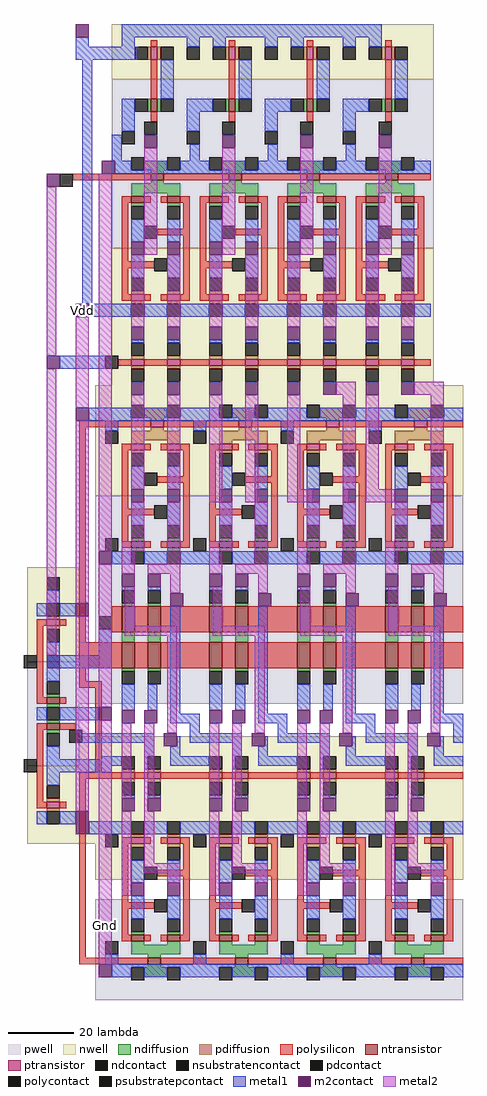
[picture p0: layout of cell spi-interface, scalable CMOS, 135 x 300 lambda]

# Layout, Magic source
magic
tech scmos
<< nwell >>
rect 0 262 99 279
rect 0 168 99 210
rect -5 134 108 168
rect -26 83 -10 112
rect -10 51 108 60
rect -26 27 108 51
rect -5 16 108 27
<< pwell >>
rect 0 210 99 262
rect -5 89 108 134
rect -10 83 108 89
rect -26 70 108 83
rect -26 51 -10 70
rect -5 -21 108 10
<< psubstratepcontact >>
rect 3 242 7 246
rect 23 242 27 246
rect 47 242 51 246
rect 71 242 75 246
rect -2 117 2 121
rect 25 117 29 121
rect 52 117 56 121
rect 79 117 83 121
rect -2 -7 2 -3
rect 25 -7 29 -3
rect 52 -7 56 -3
rect 79 -7 83 -3
<< nsubstratencontact >>
rect 23 268 27 272
rect 47 268 51 272
rect 71 268 75 272
rect -20 105 -16 109
rect -2 150 2 154
rect 25 150 29 154
rect 52 150 56 154
rect 79 150 83 154
rect -2 26 2 30
rect 25 26 29 30
rect 52 26 56 30
rect 79 26 83 30
<< polysilicon >>
rect -12 231 2 233
rect -10 155 0 157
rect -10 89 -8 155
rect -10 81 0 89
rect -10 77 -8 81
rect -10 75 -3 77
rect -14 62 -11 64
rect -5 49 -3 75
rect -10 47 0 49
rect -10 -8 -8 47
rect -10 -10 0 -8
<< polycontact >>
rect -16 229 -12 233
rect -2 173 2 177
rect -4 93 0 97
rect -27 81 -23 85
rect -13 58 -9 62
rect -27 49 -23 53
<< metal1 >>
rect -11 272 -7 275
rect 3 275 83 279
rect 3 272 7 275
rect 23 272 27 275
rect 31 272 35 275
rect 47 272 51 275
rect 55 272 59 275
rect 71 272 75 275
rect 79 272 83 275
rect -11 268 8 272
rect -9 193 -6 268
rect 3 246 7 256
rect 0 237 3 245
rect 23 252 31 256
rect 47 252 55 256
rect 71 252 79 256
rect 23 246 27 252
rect 47 246 51 252
rect 71 246 75 252
rect 24 237 27 242
rect 48 237 51 242
rect 72 237 75 242
rect 1 233 2 237
rect -7 189 2 193
rect -16 173 -2 177
rect -7 158 1 161
rect -7 157 2 158
rect -2 154 2 157
rect 25 154 29 157
rect 52 154 56 159
rect 79 154 83 160
rect -20 101 -16 105
rect -14 97 -11 101
rect -4 85 0 93
rect -14 81 0 85
rect -14 65 -4 69
rect -9 58 0 61
rect -3 53 3 54
rect -14 51 3 53
rect -14 49 0 51
rect -14 33 -11 37
rect -7 30 3 34
rect -2 -10 2 -7
rect 25 -10 29 -7
rect 52 -10 56 -7
rect 79 -10 83 -7
<< m2contact >>
rect -11 275 -7 279
rect -20 229 -16 233
rect -3 233 1 237
rect -11 189 -7 193
rect -20 173 -16 177
rect 6 165 10 169
rect 17 165 21 169
rect 30 165 34 169
rect 41 165 45 169
rect 54 165 58 169
rect 65 165 69 169
rect 78 165 82 169
rect 89 165 93 169
rect -11 157 -7 161
rect -4 113 0 117
rect -11 97 -7 101
rect -20 81 -16 85
rect -4 65 0 69
rect -11 30 -7 37
rect -4 -14 0 -10
<< metal2 >>
rect -20 177 -17 229
rect -20 85 -17 173
rect -11 161 -7 189
rect -11 101 -7 157
rect -11 37 -7 97
rect -4 117 0 233
rect 6 136 10 165
rect 17 136 21 165
rect 30 132 34 165
rect 41 132 45 165
rect 69 165 75 169
rect 54 136 58 165
rect 71 136 75 165
rect 93 165 102 169
rect 78 136 82 165
rect 98 136 102 165
rect 54 132 62 136
rect 71 132 73 136
rect 78 132 87 136
rect -4 69 0 113
rect -4 -10 0 65
use dflipflopsimple  dflipflopsimple_0
array 0 3 24 0 0 76
transform -1 0 88 0 -1 88
box -10 -186 14 -81
use inverter  inverter_1
transform 1 0 -20 0 1 70
box -3 -5 6 31
use invinverter  invinverter_0
transform 1 0 -19 0 1 38
box -4 -5 5 31
use dflipflop  dflipflop_0
array 0 3 27 0 0 161
transform 1 0 11 0 1 135
box -11 -150 16 27
<< labels >>
rlabel metal2 -4 0 0 4 1 Gnd
rlabel m2contact -11 189 -7 193 1 Vdd
<< end >>

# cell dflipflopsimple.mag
magic
tech scmos
<< ntransistor >>
rect -5 -138 -1 -136
rect 6 -138 10 -136
rect 0 -145 4 -143
rect 2 -168 4 -164
<< ptransistor >>
rect -5 -88 -1 -86
rect 6 -88 10 -86
rect -5 -108 -1 -106
rect 6 -108 10 -106
rect 2 -184 4 -180
<< ndiffusion >>
rect -5 -136 -1 -135
rect 6 -136 10 -135
rect -5 -139 -1 -138
rect 6 -139 10 -138
rect -5 -142 10 -139
rect 0 -143 4 -142
rect 0 -146 4 -145
rect -1 -149 6 -146
rect 1 -168 2 -164
rect 4 -168 5 -164
<< pdiffusion >>
rect -5 -86 -1 -85
rect 6 -86 10 -85
rect -5 -89 -1 -88
rect 6 -89 10 -88
rect -5 -106 -1 -105
rect 6 -106 10 -105
rect -5 -109 -1 -108
rect 6 -109 10 -108
rect 1 -184 2 -180
rect 4 -184 5 -180
<< ndcontact >>
rect -5 -135 -1 -131
rect 6 -135 10 -131
rect -5 -150 -1 -146
rect 6 -150 10 -146
rect -3 -168 1 -164
rect 5 -168 9 -164
<< pdcontact >>
rect -5 -85 -1 -81
rect 6 -85 10 -81
rect -5 -93 -1 -89
rect 6 -93 10 -89
rect -5 -105 -1 -101
rect 6 -105 10 -101
rect -5 -113 -1 -109
rect 6 -113 10 -109
rect -3 -184 1 -180
rect 5 -184 9 -180
<< polysilicon >>
rect -10 -88 -5 -86
rect -1 -88 6 -86
rect 10 -88 14 -86
rect -8 -108 -5 -106
rect -1 -108 1 -106
rect 4 -108 6 -106
rect 10 -108 13 -106
rect -8 -126 -6 -108
rect 11 -116 13 -108
rect 3 -118 13 -116
rect -8 -128 2 -126
rect -8 -136 -6 -128
rect 11 -136 13 -118
rect -8 -138 -5 -136
rect -1 -138 1 -136
rect 4 -138 6 -136
rect 10 -138 13 -136
rect -10 -145 0 -143
rect 4 -145 14 -143
rect 2 -164 4 -161
rect 2 -180 4 -168
rect 2 -186 4 -184
<< polycontact >>
rect -1 -119 3 -115
rect 2 -129 6 -125
rect 2 -161 6 -157
<< metal1 >>
rect -5 -94 -1 -93
rect 6 -94 10 -93
rect -10 -105 -5 -101
rect -1 -105 6 -101
rect 10 -105 14 -101
rect -5 -120 -1 -113
rect -5 -131 -1 -124
rect 6 -120 10 -113
rect 6 -131 10 -124
rect -10 -146 14 -145
rect -10 -149 -5 -146
rect -1 -149 6 -146
rect 10 -149 14 -146
rect -3 -180 1 -168
<< m2contact >>
rect -5 -98 -1 -94
rect 6 -98 10 -94
rect -5 -124 -1 -120
rect 6 -124 10 -120
rect 2 -157 6 -153
<< metal2 >>
rect -5 -120 -1 -98
rect 6 -120 10 -98
rect 2 -153 6 -120
<< labels >>
rlabel metal1 13 -149 14 -145 8 Gnd
rlabel metal1 -10 -105 -9 -101 3 Vdd
rlabel m2contact 6 -98 10 -94 1 Qbar
rlabel pdcontact 6 -85 10 -81 1 Dbar
rlabel m2contact -5 -98 -1 -94 3 Q
rlabel pdcontact -5 -85 -1 -81 3 D
rlabel polysilicon -10 -88 -9 -86 3 En
rlabel polysilicon -10 -145 -9 -143 3 En
rlabel metal1 -3 -176 1 -172 1 Qout
rlabel pdcontact 5 -184 9 -180 1 Vdd
rlabel ndcontact 5 -168 9 -164 5 Gnd
<< end >>

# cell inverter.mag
magic
tech scmos
<< ntransistor >>
rect 0 0 4 2
<< ptransistor >>
rect 0 24 4 26
<< ndiffusion >>
rect 0 2 4 3
rect 0 -1 4 0
<< pdiffusion >>
rect 0 26 4 27
rect 0 23 4 24
<< ndcontact >>
rect 0 3 4 7
rect 0 -5 4 -1
<< pdcontact >>
rect 0 27 4 31
rect 0 19 4 23
<< polysilicon >>
rect -3 24 0 26
rect 4 24 6 26
rect -3 2 -1 24
rect -3 0 0 2
rect 4 0 6 2
<< metal1 >>
rect -3 27 0 31
rect 4 27 6 31
rect 0 15 4 19
rect 0 11 6 15
rect 0 7 4 11
rect -3 -5 0 -1
rect 4 -5 6 -1
<< labels >>
rlabel polysilicon -3 12 -2 14 3 A
rlabel metal1 5 11 6 15 7 Z
rlabel metal1 -3 -5 -2 -1 2 Gnd
rlabel metal1 -3 27 -2 31 4 Vdd
<< end >>

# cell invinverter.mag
magic
tech scmos
<< ntransistor >>
rect -1 24 3 26
<< ptransistor >>
rect -1 0 3 2
<< ndiffusion >>
rect -1 26 3 27
rect -1 23 3 24
<< pdiffusion >>
rect -1 2 3 3
rect -1 -1 3 0
<< ndcontact >>
rect -1 27 3 31
rect -1 19 3 23
<< pdcontact >>
rect -1 3 3 7
rect -1 -5 3 -1
<< polysilicon >>
rect -4 24 -1 26
rect 3 24 5 26
rect -4 2 -2 24
rect -4 0 -1 2
rect 3 0 5 2
<< metal1 >>
rect -4 27 -1 31
rect 3 27 5 31
rect -1 15 3 19
rect -1 11 5 15
rect -1 7 3 11
rect -4 -5 -1 -1
rect 3 -5 5 -1
<< labels >>
rlabel metal1 4 27 5 31 6 Gnd
rlabel metal1 4 -5 5 -1 8 Vdd
rlabel polysilicon -4 12 -3 14 3 A
rlabel metal1 4 11 5 15 7 Z
<< end >>

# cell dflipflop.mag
magic
tech scmos
<< ntransistor >>
rect -5 -17 -1 -15
rect 6 -17 10 -15
rect -8 -43 -4 -35
rect 0 -43 4 -35
rect -8 -54 -4 -46
rect 0 -54 4 -46
rect -5 -138 -1 -136
rect 6 -138 10 -136
rect 0 -145 4 -143
<< ptransistor >>
rect 1 20 5 22
rect -5 13 -1 15
rect 6 13 10 15
rect -8 -88 -4 -86
rect 0 -88 4 -86
rect -5 -108 -1 -106
rect 6 -108 10 -106
<< ndiffusion >>
rect -5 -15 -1 -14
rect 6 -15 10 -14
rect -5 -18 -1 -17
rect 6 -18 10 -17
rect -8 -35 -4 -34
rect 0 -35 4 -34
rect -8 -46 -4 -43
rect 0 -46 4 -43
rect -8 -55 -4 -54
rect 0 -55 4 -54
rect -5 -136 -1 -135
rect 6 -136 10 -135
rect -5 -139 -1 -138
rect 6 -139 10 -138
rect -5 -142 10 -139
rect 0 -143 4 -142
rect 0 -146 4 -145
rect -1 -149 6 -146
<< pdiffusion >>
rect -1 23 6 26
rect 1 22 5 23
rect 1 19 5 20
rect -5 16 10 19
rect -5 15 -1 16
rect 6 15 10 16
rect -5 12 -1 13
rect 6 12 10 13
rect -8 -86 -4 -85
rect 0 -86 4 -85
rect -8 -89 -4 -88
rect 0 -89 4 -88
rect -5 -106 -1 -105
rect 6 -106 10 -105
rect -5 -109 -1 -108
rect 6 -109 10 -108
<< ndcontact >>
rect -5 -14 -1 -10
rect 6 -14 10 -10
rect -5 -22 -1 -18
rect 6 -22 10 -18
rect -8 -34 -4 -30
rect 0 -34 4 -30
rect -8 -59 -4 -55
rect 0 -59 4 -55
rect -5 -135 -1 -131
rect 6 -135 10 -131
rect -5 -150 -1 -146
rect 6 -150 10 -146
<< pdcontact >>
rect -5 23 -1 27
rect 6 23 10 27
rect -5 8 -1 12
rect 6 8 10 12
rect -8 -85 -4 -81
rect 0 -85 4 -81
rect -8 -93 -4 -89
rect 0 -93 4 -89
rect -5 -105 -1 -101
rect 6 -105 10 -101
rect -5 -113 -1 -109
rect 6 -113 10 -109
<< polysilicon >>
rect -11 20 1 22
rect 5 20 16 22
rect -8 13 -5 15
rect -1 13 1 15
rect 4 13 6 15
rect 10 13 13 15
rect -8 -5 -6 13
rect 11 5 13 13
rect 3 3 13 5
rect -8 -7 2 -5
rect -8 -15 -6 -7
rect 11 -15 13 3
rect -8 -17 -5 -15
rect -1 -17 1 -15
rect 4 -17 6 -15
rect 10 -17 13 -15
rect -11 -43 -8 -35
rect -4 -43 0 -35
rect 4 -43 16 -35
rect -11 -54 -8 -46
rect -4 -54 0 -46
rect 4 -54 16 -46
rect -11 -88 -8 -86
rect -4 -88 0 -86
rect 4 -88 16 -86
rect -8 -108 -5 -106
rect -1 -108 1 -106
rect 4 -108 6 -106
rect 10 -108 13 -106
rect -8 -126 -6 -108
rect 11 -116 13 -108
rect 3 -118 13 -116
rect -8 -128 2 -126
rect -8 -136 -6 -128
rect 11 -136 13 -118
rect -8 -138 -5 -136
rect -1 -138 1 -136
rect 4 -138 6 -136
rect 10 -138 13 -136
rect -11 -145 0 -143
rect 4 -145 16 -143
<< polycontact >>
rect -1 2 3 6
rect 2 -8 6 -4
rect -1 -119 3 -115
rect 2 -129 6 -125
<< metal1 >>
rect -11 23 -5 26
rect -1 23 6 26
rect 10 23 16 26
rect -11 22 16 23
rect -5 1 -1 8
rect -5 -10 -1 -3
rect 6 1 10 8
rect 6 -10 10 -3
rect -11 -22 -5 -18
rect -1 -22 6 -18
rect 10 -22 16 -18
rect -8 -30 -4 -29
rect 0 -30 4 -29
rect -8 -67 -4 -59
rect 0 -67 3 -59
rect 7 -68 10 -35
rect 7 -71 16 -68
rect -11 -77 2 -74
rect -1 -81 2 -77
rect 9 -78 10 -75
rect 13 -77 16 -71
rect 7 -81 10 -78
rect -11 -84 -8 -81
rect -1 -85 0 -81
rect 7 -84 16 -81
rect -8 -94 -4 -93
rect 0 -94 4 -93
rect -11 -105 -5 -101
rect -1 -105 6 -101
rect 10 -105 16 -101
rect -5 -120 -1 -113
rect -5 -131 -1 -124
rect 6 -120 10 -113
rect 6 -131 10 -124
rect -11 -146 16 -145
rect -11 -149 -5 -146
rect -1 -149 6 -146
rect 10 -149 16 -146
<< m2contact >>
rect -5 -3 -1 1
rect 6 -3 10 1
rect -8 -29 -4 -25
rect 0 -29 4 -25
rect 7 -35 11 -31
rect -8 -71 -4 -67
rect -1 -71 3 -67
rect 5 -78 9 -74
rect -8 -98 -4 -94
rect 0 -98 4 -94
rect -5 -124 -1 -120
rect 6 -124 10 -120
<< metal2 >>
rect -5 -15 -1 -3
rect -8 -18 -1 -15
rect -8 -25 -4 -18
rect 6 -22 10 -3
rect 0 -25 10 -22
rect -7 -41 -4 -29
rect 7 -31 10 -25
rect -7 -44 9 -41
rect -8 -94 -5 -71
rect -1 -94 2 -71
rect 6 -74 9 -44
rect -1 -98 0 -94
rect -8 -124 -5 -98
rect -1 -114 2 -98
rect -1 -117 10 -114
rect 6 -120 10 -117
<< labels >>
rlabel metal1 15 -22 16 -18 7 Gnd
rlabel metal1 -11 -84 -10 -81 3 Dbar
rlabel metal1 15 -149 16 -145 8 Gnd
rlabel metal1 15 -84 16 -81 7 Qbar
rlabel metal1 13 -77 16 -76 7 Q
rlabel polysilicon 15 -88 16 -86 7 Clk
rlabel metal1 15 -105 16 -101 7 Vdd
rlabel polysilicon -11 20 -10 22 3 Clk
rlabel metal1 15 22 16 26 6 Vdd
rlabel polysilicon -11 -145 -10 -143 3 Clk
rlabel metal1 -11 -77 -10 -74 3 D
rlabel polysilicon -11 -43 -10 -35 3 En
rlabel polysilicon -11 -54 -10 -46 3 Clk
<< end >>
